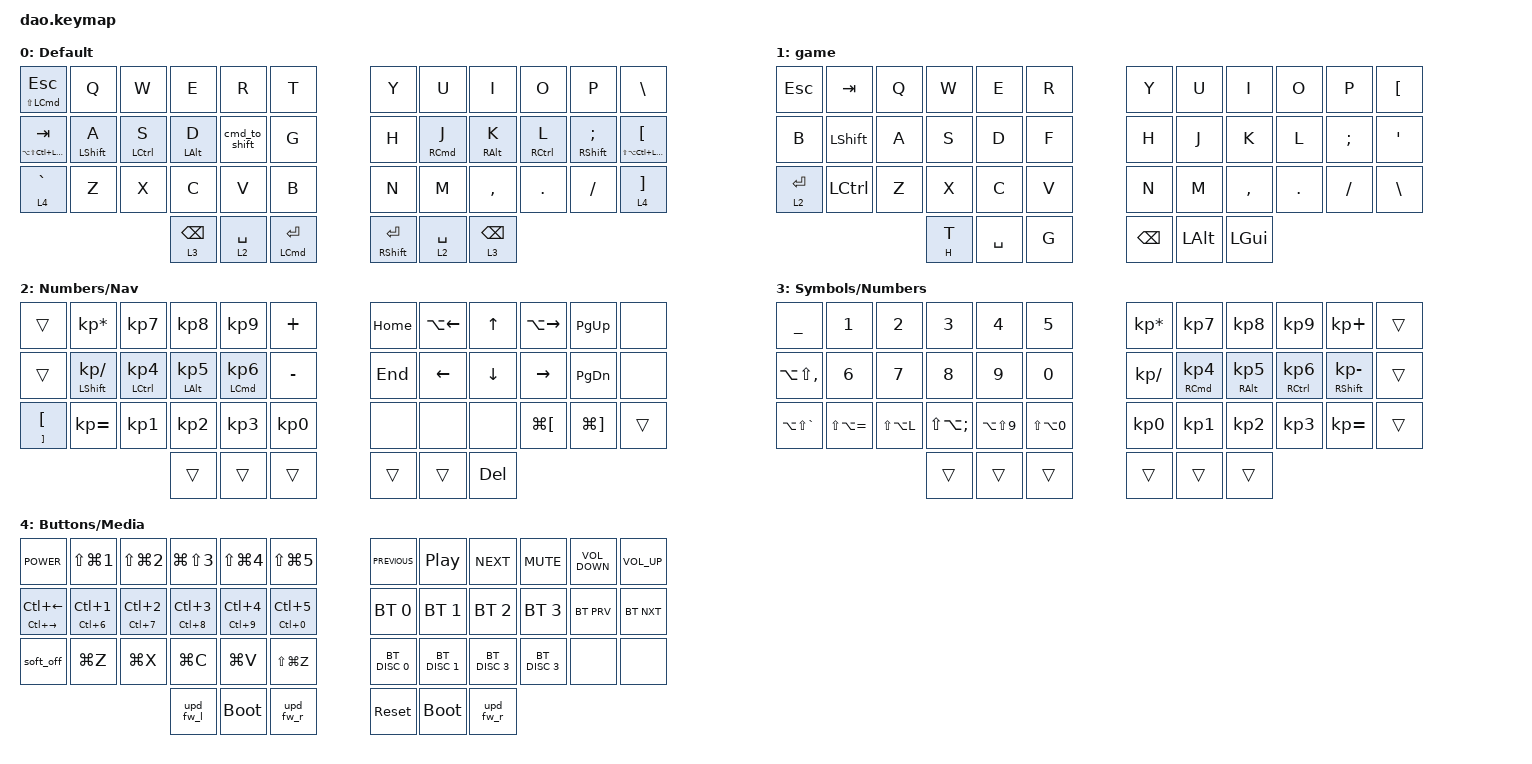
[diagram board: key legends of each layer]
/*
 * SPDX-License-Identifier: MIT
 */

#include <behaviors.dtsi>
#include <dt-bindings/zmk/bt.h>
#include <dt-bindings/zmk/keys.h>

// urob zmk-helpers
// #include "zmk-helpers/helper.h"
// #include "zmk-helpers/key-labels/42.h"
// #include "zmk-helpers/unicode-chars/russian.dtsi"
// Layers

#define DFLT   0
#define GAME   1
#define NUMB   2
#define SYMB   3
#define MEDIA  4

&lt { quick_tap_ms = <200>; };

&mt {
    flavor = "balanced";
    hold-trigger-on-release;
};

&soft_off { hold-time-ms = <2000>; };

/ {
    // INPUT configs {{{

    input_configs { compatible = "zmk,input-configs"; };

    // }}}

    chosen { zmk,matrix_transform = &default_transform; };

    combos {
        compatible = "zmk,combos";

        comma {
            bindings = <&comma_space>;
            key-positions = <26 27>;
            layers = <0>;
        };

        period {
            bindings = <&period_space>;
            key-positions = <27 28>;
            layers = <0>;
        };

        t_game {
            bindings = <&tog 1>;
            key-positions = <35 24>;
            layers = <0 1>;
        };

        ch_lang {
            bindings = <&kp CAPS>;
            key-positions = <16 19>;
            layers = <0>;
            timeout-ms = <80>;
            require-prior-idle-ms = <80>;
        };

        caps_word {
            bindings = <&caps_word>;
            key-positions = <12 13>;
            timeout-ms = <80>;
            layers = <0>;
        };

        eqquo {
            bindings = <&equals_qoute>;
            key-positions = <28 29>;
            layers = <0>;
        };

        sch {
            bindings = <&kp LA(I)>;
            key-positions = <8 9>;
            layers = <0>;
        };

        harden_sign {
            bindings = <&kp LA(M)>;
            key-positions = <31 32>;
            layers = <0>;
        };

        yo {
            bindings = <&kp LA(T)>;
            key-positions = <4 5>;
            layers = <0>;
        };

        excl {
            bindings = <&kp N1>;
            key-positions = <1 13>;
            layers = <0>;
        };

        at {
            bindings = <&kp N2>;
            key-positions = <2 14>;
            layers = <0>;
        };

        hash {
            bindings = <&kp N3>;
            key-positions = <3 15>;
            layers = <0>;
        };

        doll {
            bindings = <&kp N4>;
            key-positions = <4 16>;
            layers = <0>;
        };

        percnt {
            bindings = <&kp N5>;
            key-positions = <17 5>;
            layers = <0>;
        };

        caret {
            bindings = <&kp N6>;
            key-positions = <6 18>;
        };

        questn {
            bindings = <&kp N7>;
            key-positions = <7 19>;
        };

        asterisk {
            bindings = <&kp N8>;
            key-positions = <8 20>;
        };

        lpar {
            bindings = <&kp N9>;
            key-positions = <9 21>;
        };

        rpar {
            bindings = <&kp N0>;
            key-positions = <10 22>;
        };

        dash {
            bindings = <&mt LA(LS(MINUS)) MINUS>;
            key-positions = <20 19>;
        };

        soff {
            bindings = <&soft_off>;
            key-positions = <25 17>;
        };

        under {
            bindings = <&mt LA(LS(LG(COMMA))) LS(MINUS)>;
            key-positions = <7 8>;
            layers = <0>;
        };

        bullet {
            bindings = <&kp LA(LS(GRAVE))>;
            key-positions = <11 23>;
        };

        dquo {
            bindings = <&kp LS(GRAVE)>;
            key-positions = <32 33>;
        };

        grave {
            bindings = <&kp LA(GRAVE)>;
            key-positions = <33 34>;
        };

        equals {
            bindings = <&kp EQUAL>;
            key-positions = <28 29>;
        };

        del {
            bindings = <&kp DEL>;
            key-positions = <8 9>;
            layers = <2>;
        };

        bsp {
            bindings = <&kp BSPC>;
            key-positions = <8 7>;
            layers = <2>;
        };
    };

    macros {
        comma_space: comma_space {
            compatible = "zmk,behavior-macro";
            #binding-cells = <0>;
            bindings = <&kp LA(LC(COMMA)) &kp SPACE>;
            label = "COMMA_SPACE";
        };

        period_space: period_space {
            compatible = "zmk,behavior-macro";
            #binding-cells = <0>;
            bindings = <&kp LC(LA(PERIOD)) &kp SPACE &sk LSHIFT>;
            label = "PERIOD_SPACE";
        };

        meh: meh {
            compatible = "zmk,behavior-macro";
            #binding-cells = <0>;
            bindings = <&kp LA(LC(LEFT_SHIFT))>;
            label = "MEH";
        };

        upd_fw_l: upd_fw {
            compatible = "zmk,behavior-macro";
            #binding-cells = <0>;
            bindings = <&kp LG(LC(LA(LS(NUMBER_1)))) &bootloader>;
            label = "UPD_FW";
        };

        upd_fw_r: upd_fw_r {
            compatible = "zmk,behavior-macro";
            #binding-cells = <0>;
            bindings = <&kp LG(LC(LA(LS(NUMBER_2)))) &bootloader>;
            label = "UPD_FW_R";
        };

        equals_qoute: equals_qoute {
            compatible = "zmk,behavior-macro";
            #binding-cells = <0>;
            bindings = <&kp EQUAL &kp LS(GRAVE) &kp LS(GRAVE) &kp LEFT>;
            label = "EQUALS_QOUTE";
        };
    };

    behaviors {
        /omit-if-no-ref/

        cmd_to_shift: cmd_to_shift {
            compatible = "zmk,behavior-mod-morph";
            label = "⌘F / ⇧";
            bindings = <&mt LCMD F>, <&mt LSHIFT F>;

            #binding-cells = <0>;
            mods = <(MOD_LGUI)>;
            keep-mods = <(MOD_LGUI)>;
        };
    };

    keymap {
        compatible = "zmk,keymap";

        default_layer {
            bindings = <
&mt LS(LCMD) ESC          &kp Q         &kp W        &kp E            &kp R          &kp T           &kp Y             &kp U        &kp I            &kp O        &kp P            &kp BACKSLASH
&mt LA(LS(LC(LGUI))) TAB  &mt LSHIFT A  &mt LCTRL S  &mt LALT D       &cmd_to_shift  &kp G           &kp H             &mt RCMD J   &mt RALT K       &mt RCTRL L  &mt RSHIFT SEMI  &mt LS(LA(LC(LCMD))) LBKT
&lt 4 GRAVE               &kp Z         &kp X        &kp C            &kp V          &kp B           &kp N             &kp M        &kp COMMA        &kp PERIOD   &kp SLASH        &lt 4 RBKT
                                                     &lt 3 BACKSPACE  &lt 2 SPACE    &mt LCMD ENTER  &mt RSHIFT ENTER  &lt 2 SPACE  &lt 3 BACKSPACE
            >;

            label = "Default";
        };

        game {
            bindings = <
&kp ESCAPE   &kp TAB    &kp Q  &kp W    &kp E      &kp R  &kp Y          &kp U         &kp I         &kp O    &kp P     &kp LBKT
&kp B        &kp LSHFT  &kp A  &kp S    &kp D      &kp F  &kp H          &kp J         &kp K         &kp L    &kp SEMI  &kp SQT
&lt 2 ENTER  &kp LCTRL  &kp Z  &kp X    &kp C      &kp V  &kp N          &kp M         &kp COMMA     &kp DOT  &kp FSLH  &kp BSLH
                               &mt H T  &kp SPACE  &kp G  &kp BACKSPACE  &kp LEFT_ALT  &kp LEFT_GUI
            >;
        };

        num {
            bindings = <
&trans         &kp KP_MULTIPLY       &kp KP_N7        &kp KP_N8       &kp KP_N9       &kp PLUS   &kp HOME  &kp LA(LEFT)  &kp UP    &kp LA(RIGHT)  &kp PG_UP     &none
&trans         &mt LSHIFT KP_DIVIDE  &mt LCTRL KP_N4  &mt LALT KP_N5  &mt LCMD KP_N6  &kp MINUS  &kp END   &kp LEFT      &kp DOWN  &kp RIGHT      &kp PG_DN     &none
&mt RBKT LBKT  &kp KP_EQUAL          &kp KP_N1        &kp KP_N2       &kp KP_N3       &kp KP_N0  &none     &none         &none     &kp LG(LBKT)   &kp LG(RBKT)  &trans
                                                      &trans          &trans          &trans     &trans    &trans        &kp DEL
            >;

            label = "Numbers/Nav";
        };

        symb {
            bindings = <
&kp UNDER          &kp N1             &kp N2         &kp N3            &kp N4          &kp N5          &kp KP_MULTIPLY  &kp KP_N7       &kp KP_N8       &kp KP_NUMBER_9  &kp KP_PLUS         &trans
&kp LA(LS(COMMA))  &kp N6             &kp N7         &kp N8            &kp N9          &kp N0          &kp KP_DIVIDE    &mt RCMD KP_N4  &mt RALT KP_N5  &mt RCTRL KP_N6  &mt RSHFT KP_MINUS  &trans
&kp LA(LS(GRAVE))  &kp LS(LA(EQUAL))  &kp LS(LA(L))  &kp LS(LA(SEMI))  &kp LA(LS(N9))  &kp LS(LA(N0))  &kp KP_N0        &kp KP_N1       &kp KP_N2       &kp KP_N3        &kp KP_EQUAL        &trans
                                                     &trans            &trans          &trans          &trans           &trans          &trans
            >;

            label = "Symbols/Numbers";
        };

        media {
            bindings = <
&kp C_POWER             &kp LS(LG(N1))     &kp LS(LG(N2))     &kp LG(LS(N3))     &kp LS(LG(N4))     &kp LS(LG(N5))     &kp C_PREVIOUS  &kp C_PLAY_PAUSE  &kp C_NEXT     &kp K_MUTE     &kp C_VOLUME_DOWN  &kp C_VOL_UP
&mt LC(RIGHT) LC(LEFT)  &mt LC(N6) LC(N1)  &mt LC(N7) LC(N2)  &mt LC(N8) LC(N3)  &mt LC(N9) LC(N4)  &mt LC(N0) LC(N5)  &bt BT_SEL 0    &bt BT_SEL 1      &bt BT_SEL 2   &bt BT_SEL 3   &bt BT_PRV         &bt BT_NXT
&soft_off               &kp LG(Z)          &kp LG(X)          &kp LG(C)          &kp LG(V)          &kp LS(LG(Z))      &bt BT_DISC 0   &bt BT_DISC 1     &bt BT_DISC 3  &bt BT_DISC 3  &none              &none
                                                              &upd_fw_l          &bootloader        &upd_fw_r          &sys_reset      &bootloader       &upd_fw_r
            >;

            label = "Buttons/Media";
        };
    };

    conditional_layers { compatible = "zmk,conditional-layers"; };
};
